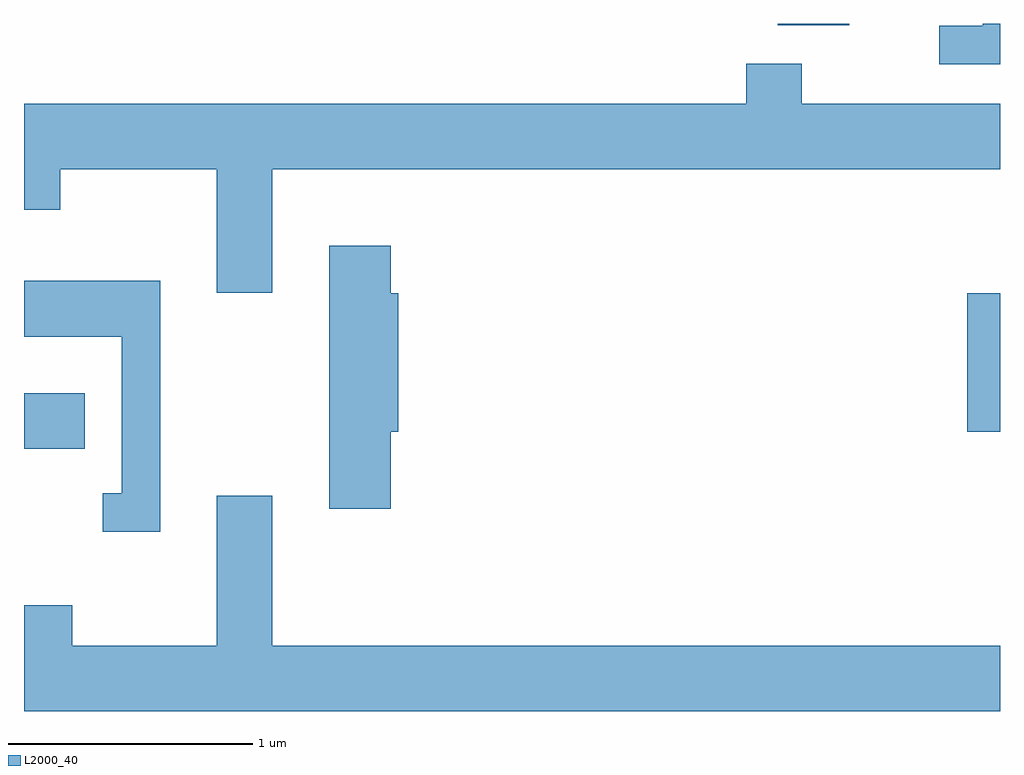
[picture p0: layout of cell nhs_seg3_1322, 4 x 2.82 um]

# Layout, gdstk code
import gdstk
lib = gdstk.Library(unit=1e-6, precision=1e-09)
def R(c, l, rs):  # rectangles x0, y0, x1, y1
    for r in rs: c.add(gdstk.rectangle(r[:2], r[2:], *l))
def P(c, l, *ps):  # polygons
    for p in ps: c.add(gdstk.Polygon(p, *l))
L2000_40 = (2000, 40)

nhs_seg3_1322 = lib.new_cell('nhs_seg3_1322')
R(nhs_seg3_1322, L2000_40, [(223.611,1178.151,223.859,1178.379), (227.476,1178.221,227.611,1178.789), (226.701,1179.886,226.994,1179.892)])
P(nhs_seg3_1322, L2000_40, [(227.611,1179.892),(227.541,1179.892),(227.541,1179.884),(227.363,1179.884),(227.363,1179.726),(227.611,1179.726)],
  [(224.629,1179.296),(227.611,1179.296),(227.611,1179.564),(226.799,1179.564),(226.799,1179.729),(226.571,1179.729),(226.571,1179.564),(223.611,1179.564),(223.611,1179.131),(223.759,1179.131),(223.759,1179.296),(224.401,1179.296),(224.401,1178.791),(224.629,1178.791)],
  [(225.114,1178.221),(225.144,1178.221),(225.144,1178.789),(225.114,1178.789),(225.114,1178.984),(224.861,1178.984),(224.861,1177.906),(225.114,1177.906)],
  [(224.169,1178.839),(223.611,1178.839),(223.611,1178.611),(224.011,1178.611),(224.011,1177.969),(223.933,1177.969),(223.933,1177.811),(224.169,1177.811)],
  [(227.611,1177.344),(224.629,1177.344),(224.629,1177.959),(224.401,1177.959),(224.401,1177.344),(223.809,1177.344),(223.809,1177.509),(223.611,1177.509),(223.611,1177.076),(227.611,1177.076)])

lib.write_gds('nhs_seg3_1322.gds')
